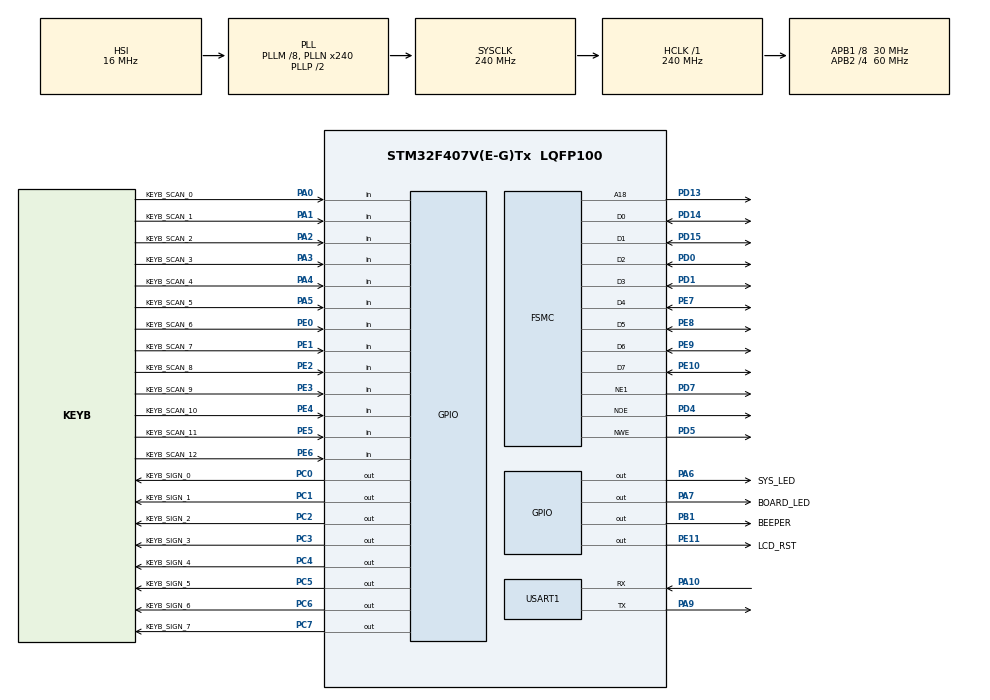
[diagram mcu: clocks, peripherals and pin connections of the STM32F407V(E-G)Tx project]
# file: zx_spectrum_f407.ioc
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Dma.Request0=USART1_RX
Dma.USART1_RX.0.Direction=DMA_PERIPH_TO_MEMORY
Dma.USART1_RX.0.FIFOMode=DMA_FIFOMODE_DISABLE
Dma.USART1_RX.0.Instance=DMA2_Stream2
Dma.USART1_RX.0.MemDataAlignment=DMA_MDATAALIGN_BYTE
Dma.USART1_RX.0.MemInc=DMA_MINC_ENABLE
Dma.USART1_RX.0.Mode=DMA_CIRCULAR
Dma.USART1_RX.0.PeriphDataAlignment=DMA_PDATAALIGN_BYTE
Dma.USART1_RX.0.PeriphInc=DMA_PINC_DISABLE
Dma.USART1_RX.0.Priority=DMA_PRIORITY_VERY_HIGH
FSMC.AddressSetupTime1=15
FSMC.DataSetupTime1=20
FSMC.ExtendedMode1=FSMC_EXTENDED_MODE_DISABLE
Mcu.Family=STM32F4
Mcu.Name=STM32F407V(E-G)Tx
Mcu.Package=LQFP100
NVIC.DMA2_Stream2_IRQn=true\:0\:0\:false\:false\:true\:false
NVIC.PriorityGroup=NVIC_PRIORITYGROUP_4
NVIC.TIM1_UP_TIM10_IRQn=true\:0\:0\:false\:false\:true\:false
NVIC.TimeBase=TIM1_UP_TIM10_IRQn
NVIC.TimeBaseIP=TIM1
PA0-WKUP.GPIO_Label=KEYB_SCAN_0
PA0-WKUP.GPIO_PuPd=GPIO_PULLUP
PA0-WKUP.Signal=GPIO_Input
PA1.GPIO_Label=KEYB_SCAN_1
PA1.GPIO_PuPd=GPIO_PULLUP
PA1.Signal=GPIO_Input
PA10.Mode=Asynchronous
PA10.Signal=USART1_RX
PA2.GPIO_Label=KEYB_SCAN_2
PA2.GPIO_PuPd=GPIO_PULLUP
PA2.Signal=GPIO_Input
PA3.GPIO_Label=KEYB_SCAN_3
PA3.GPIO_PuPd=GPIO_PULLUP
PA3.Signal=GPIO_Input
PA4.GPIO_Label=KEYB_SCAN_4
PA4.GPIO_PuPd=GPIO_PULLUP
PA4.Signal=GPIO_Input
PA5.GPIO_Label=KEYB_SCAN_5
PA5.GPIO_PuPd=GPIO_PULLUP
PA5.Signal=GPIO_Input
PA6.GPIO_Label=SYS_LED
PA6.PinState=GPIO_PIN_SET
PA6.Signal=GPIO_Output
PA7.GPIO_Label=BOARD_LED
PA7.PinState=GPIO_PIN_SET
PA7.Signal=GPIO_Output
PA9.Mode=Asynchronous
PA9.Signal=USART1_TX
PB1.GPIO_Label=BEEPER
PB1.PinState=GPIO_PIN_SET
PB1.Signal=GPIO_Output
PC0.GPIO_Label=KEYB_SIGN_0
PC0.GPIO_Speed=GPIO_SPEED_FREQ_VERY_HIGH
PC0.PinState=GPIO_PIN_SET
PC0.Signal=GPIO_Output
PC1.GPIO_Label=KEYB_SIGN_1
PC1.GPIO_Speed=GPIO_SPEED_FREQ_VERY_HIGH
PC1.PinState=GPIO_PIN_SET
PC1.Signal=GPIO_Output
PC14-OSC32_IN.Mode=LSE-External-Oscillator
PC14-OSC32_IN.Signal=RCC_OSC32_IN
PC15-OSC32_OUT.Mode=LSE-External-Oscillator
PC15-OSC32_OUT.Signal=RCC_OSC32_OUT
PC2.GPIO_Label=KEYB_SIGN_2
PC2.GPIO_Speed=GPIO_SPEED_FREQ_VERY_HIGH
PC2.PinState=GPIO_PIN_SET
PC2.Signal=GPIO_Output
PC3.GPIO_Label=KEYB_SIGN_3
PC3.GPIO_Speed=GPIO_SPEED_FREQ_VERY_HIGH
PC3.PinState=GPIO_PIN_SET
PC3.Signal=GPIO_Output
PC4.GPIO_Label=KEYB_SIGN_4
PC4.GPIO_Speed=GPIO_SPEED_FREQ_VERY_HIGH
PC4.PinState=GPIO_PIN_SET
PC4.Signal=GPIO_Output
PC5.GPIO_Label=KEYB_SIGN_5
PC5.GPIO_Speed=GPIO_SPEED_FREQ_VERY_HIGH
PC5.PinState=GPIO_PIN_SET
PC5.Signal=GPIO_Output
PC6.GPIO_Label=KEYB_SIGN_6
PC6.GPIO_Speed=GPIO_SPEED_FREQ_VERY_HIGH
PC6.PinState=GPIO_PIN_SET
PC6.Signal=GPIO_Output
PC7.GPIO_Label=KEYB_SIGN_7
PC7.GPIO_Speed=GPIO_SPEED_FREQ_VERY_HIGH
PC7.PinState=GPIO_PIN_SET
PC7.Signal=GPIO_Output
PD0.Mode=8b-d1
PD0.Signal=FSMC_D2
PD1.Mode=8b-d1
PD1.Signal=FSMC_D3
PD13.Mode=A18_1
PD13.Signal=FSMC_A18
PD14.Mode=8b-d1
PD14.Signal=FSMC_D0
PD15.Mode=8b-d1
PD15.Signal=FSMC_D1
PD4.Mode=Lcd1
PD4.Signal=FSMC_NOE
PD5.Mode=Lcd1
PD5.Signal=FSMC_NWE
PD7.Mode=NorPsramChipSelect1_1
PD7.Signal=FSMC_NE1
PE0.GPIO_Label=KEYB_SCAN_6
PE0.GPIO_PuPd=GPIO_PULLUP
PE0.Signal=GPIO_Input
PE1.GPIO_Label=KEYB_SCAN_7
PE1.GPIO_PuPd=GPIO_PULLUP
PE1.Signal=GPIO_Input
PE10.Mode=8b-d1
PE10.Signal=FSMC_D7
PE11.GPIO_Label=LCD_RST
PE11.PinState=GPIO_PIN_SET
PE11.Signal=GPIO_Output
PE2.GPIO_Label=KEYB_SCAN_8
PE2.GPIO_PuPd=GPIO_PULLUP
PE2.Signal=GPIO_Input
PE3.GPIO_Label=KEYB_SCAN_9
PE3.GPIO_PuPd=GPIO_PULLUP
PE3.Signal=GPIO_Input
PE4.GPIO_Label=KEYB_SCAN_10
PE4.GPIO_PuPd=GPIO_PULLUP
PE4.Signal=GPIO_Input
PE5.GPIO_Label=KEYB_SCAN_11
PE5.GPIO_PuPd=GPIO_PULLUP
PE5.Signal=GPIO_Input
PE6.GPIO_Label=KEYB_SCAN_12
PE6.GPIO_PuPd=GPIO_PULLUP
PE6.Signal=GPIO_Input
PE7.Mode=8b-d1
PE7.Signal=FSMC_D4
PE8.Mode=8b-d1
PE8.Signal=FSMC_D5
PE9.Mode=8b-d1
PE9.Signal=FSMC_D6
PH0-OSC_IN.Mode=HSE-External-Oscillator
PH0-OSC_IN.Signal=RCC_OSC_IN
PH1-OSC_OUT.Mode=HSE-External-Oscillator
PH1-OSC_OUT.Signal=RCC_OSC_OUT
ProjectManager.HeapSize=0x200
ProjectManager.StackSize=0x400
ProjectManager.TargetToolchain=Makefile
RCC.48MHZClocksFreq_Value=68571428.57142857
RCC.AHBFreq_Value=240000000
RCC.APB1CLKDivider=RCC_HCLK_DIV8
RCC.APB1Freq_Value=30000000
RCC.APB1TimFreq_Value=60000000
RCC.APB2CLKDivider=RCC_HCLK_DIV4
RCC.APB2Freq_Value=60000000
RCC.APB2TimFreq_Value=120000000
RCC.CortexFreq_Value=240000000
RCC.HCLKFreq_Value=240000000
RCC.HSE_VALUE=8000000
RCC.HSI_VALUE=16000000
RCC.PLLM=8
RCC.PLLN=240
RCC.PLLQ=7
RCC.SYSCLKFreq_VALUE=240000000
RCC.SYSCLKSource=RCC_SYSCLKSOURCE_PLLCLK
RCC.VCOOutputFreq_Value=480000000
USART1.VirtualMode=VM_ASYNC
VP_SYS_VS_tim1.Mode=TIM1
board=custom

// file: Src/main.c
/**
  ******************************************************************************
  * @file           : main.c
  * @brief          : Main program body
  ******************************************************************************
  ** This notice applies to any and all portions of this file
  * that are not between comment pairs USER CODE BEGIN and
  * USER CODE END. Other portions of this file, whether
  * inserted by the user or by software development tools
  * are owned by their respective copyright owners.
  *
  * COPYRIGHT(c) 2020 STMicroelectronics
  *
  * Redistribution and use in source and binary forms, with or without modification,
  * are permitted provided that the following conditions are met:
  *   1. Redistributions of source code must retain the above copyright notice,
  *      this list of conditions and the following disclaimer.
  *   2. Redistributions in binary form must reproduce the above copyright notice,
  *      this list of conditions and the following disclaimer in the documentation
  *      and/or other materials provided with the distribution.
  *   3. Neither the name of STMicroelectronics nor the names of its contributors
  *      may be used to endorse or promote products derived from this software
  *      without specific prior written permission.
  *
  * THIS SOFTWARE IS PROVIDED BY THE COPYRIGHT HOLDERS AND CONTRIBUTORS "AS IS"
  * AND ANY EXPRESS OR IMPLIED WARRANTIES, INCLUDING, BUT NOT LIMITED TO, THE
  * IMPLIED WARRANTIES OF MERCHANTABILITY AND FITNESS FOR A PARTICULAR PURPOSE ARE
  * DISCLAIMED. IN NO EVENT SHALL THE COPYRIGHT HOLDER OR CONTRIBUTORS BE LIABLE
  * FOR ANY DIRECT, INDIRECT, INCIDENTAL, SPECIAL, EXEMPLARY, OR CONSEQUENTIAL
  * DAMAGES (INCLUDING, BUT NOT LIMITED TO, PROCUREMENT OF SUBSTITUTE GOODS OR
  * SERVICES; LOSS OF USE, DATA, OR PROFITS; OR BUSINESS INTERRUPTION) HOWEVER
  * CAUSED AND ON ANY THEORY OF LIABILITY, WHETHER IN CONTRACT, STRICT LIABILITY,
  * OR TORT (INCLUDING NEGLIGENCE OR OTHERWISE) ARISING IN ANY WAY OUT OF THE USE
  * OF THIS SOFTWARE, EVEN IF ADVISED OF THE POSSIBILITY OF SUCH DAMAGE.
  *
  ******************************************************************************
  */
#include "main.h"
#include "stm32f4xx_hal.h"
#include "dma.h"
#include "usart.h"
#include "gpio.h"
#include "fsmc.h"

/* USER CODE BEGIN Includes */
#include "logger.h"
#include "display.h"
#include <string.h>

#include "emulator.h"

// #include "snapshot.h"
// #include "simcity.h"
// #include "nether_earth2.h"
// #include "dizzy.h"
// #include "fantasy.h"
// #include "batty.h"
// #include "boulder.h"
// #include "exolon.h"
// #include "tetris.h"
// #include "quazatron.h"
// #include "buratino.h"

/* USER CODE END Includes */

/* USER CODE BEGIN PV */
/* Private variables ---------------------------------------------------------*/

/* USER CODE END PV */

void SystemClock_Config(void);

/* USER CODE BEGIN PFP */
/* Private function prototypes -----------------------------------------------*/

/* USER CODE END PFP */

/* USER CODE BEGIN 0 */
#include "snapshot.h"
#include "simcity.h"
#include "nether_earth2.h"
#include "dizzy.h"
#include "fantasy.h"
#include "batty.h"
#include "boulder.h"
#include "exolon.h"
#include "tetris.h"
#include "quazatron.h"
#include "buratino.h"
uint8_t load;
/* USER CODE END 0 */

int main(void)
{

  /* MCU Configuration----------------------------------------------------------*/

  /* Reset of all peripherals, Initializes the Flash interface and the Systick. */
  HAL_Init();

  /* Configure the system clock */
  SystemClock_Config();

  /* Initialize all configured peripherals */
  MX_GPIO_Init();
  MX_DMA_Init();
  MX_USART1_UART_Init();
  MX_FSMC_Init();
  /* USER CODE BEGIN 2 */
  HAL_Delay(3000);
  emulator_init();

  /* USER CODE END 2 */

  /* Infinite loop */
  while (1)
  {

  /* USER CODE BEGIN 3 */
    emulator_loop();

    if (load == 1)
    {
      // snapshot_load(Quazatron__z80, sizeof(Quazatron__z80));
      snapshot_load(Boulder_Dash__1984__Front_Runner__a2__z80, sizeof(Boulder_Dash__1984__Front_Runner__a2__z80));
    }
    else if (load == 2)
    {
      // snapshot_load(Tetris_z80, sizeof(Tetris_z80));
      // snapshot_load(Exolon_a__z80, sizeof(Exolon_a__z80));
    }
    else if (load == 3)
    {
      // snapshot_load(Fantasy___An_Adult_Game__1987__R_n_H_Microtec__z80, sizeof(Fantasy___An_Adult_Game__1987__R_n_H_Microtec__z80));
      snapshot_load(Dizzy_III___Fantasy_World_Dizzy__1989__Codemasters__a__z80, sizeof(Dizzy_III___Fantasy_World_Dizzy__1989__Codemasters__a__z80));
    }
    else if (load == 4)
    {
      snapshot_load(Nether_Earth__1987__Argus_Press_Software__a__z80, sizeof(Nether_Earth__1987__Argus_Press_Software__a__z80));
    }
    else if (load == 5)
    {
      snapshot_load(Batty_a2__z80, sizeof(Batty_a2__z80));
    }
    HAL_GPIO_TogglePin(SYS_LED_GPIO_Port, SYS_LED_Pin);
  }
  /* USER CODE END 3 */

}

void SystemClock_Config(void)
{

  RCC_OscInitTypeDef RCC_OscInitStruct;
  RCC_ClkInitTypeDef RCC_ClkInitStruct;

    /**Configure the main internal regulator output voltage
    */
  __HAL_RCC_PWR_CLK_ENABLE();

  __HAL_PWR_VOLTAGESCALING_CONFIG(PWR_REGULATOR_VOLTAGE_SCALE1);

    /**Initializes the CPU, AHB and APB busses clocks
    */
  RCC_OscInitStruct.OscillatorType = RCC_OSCILLATORTYPE_HSI;
  RCC_OscInitStruct.HSIState = RCC_HSI_ON;
  RCC_OscInitStruct.HSICalibrationValue = 16;
  RCC_OscInitStruct.PLL.PLLState = RCC_PLL_ON;
  RCC_OscInitStruct.PLL.PLLSource = RCC_PLLSOURCE_HSI;
  RCC_OscInitStruct.PLL.PLLM = 8;
  RCC_OscInitStruct.PLL.PLLN = 240;
  RCC_OscInitStruct.PLL.PLLP = RCC_PLLP_DIV2;
  RCC_OscInitStruct.PLL.PLLQ = 7;
  if (HAL_RCC_OscConfig(&RCC_OscInitStruct) != HAL_OK)
  {
    _Error_Handler(__FILE__, __LINE__);
  }

    /**Initializes the CPU, AHB and APB busses clocks
    */
  RCC_ClkInitStruct.ClockType = RCC_CLOCKTYPE_HCLK|RCC_CLOCKTYPE_SYSCLK
                              |RCC_CLOCKTYPE_PCLK1|RCC_CLOCKTYPE_PCLK2;
  RCC_ClkInitStruct.SYSCLKSource = RCC_SYSCLKSOURCE_PLLCLK;
  RCC_ClkInitStruct.AHBCLKDivider = RCC_SYSCLK_DIV1;
  RCC_ClkInitStruct.APB1CLKDivider = RCC_HCLK_DIV8;
  RCC_ClkInitStruct.APB2CLKDivider = RCC_HCLK_DIV4;

  if (HAL_RCC_ClockConfig(&RCC_ClkInitStruct, FLASH_LATENCY_5) != HAL_OK)
  {
    _Error_Handler(__FILE__, __LINE__);
  }

    /**Configure the Systick interrupt time
    */
  HAL_SYSTICK_Config(HAL_RCC_GetHCLKFreq()/1000);

    /**Configure the Systick
    */
  HAL_SYSTICK_CLKSourceConfig(SYSTICK_CLKSOURCE_HCLK);

  /* SysTick_IRQn interrupt configuration */
  HAL_NVIC_SetPriority(SysTick_IRQn, 0, 0);
}

void HAL_TIM_PeriodElapsedCallback(TIM_HandleTypeDef *htim)
{
  if (htim->Instance == TIM1) {
    HAL_IncTick();
  }
}

void _Error_Handler(char *file, int line)
{
  /* USER CODE BEGIN Error_Handler_Debug */
  /* User can add his own implementation to report the HAL error return state */
  while(1)
  {
    logger("%s\r\n", __func__);
  }
  /* USER CODE END Error_Handler_Debug */
}

/************************ (C) COPYRIGHT STMicroelectronics *****END OF FILE****/
